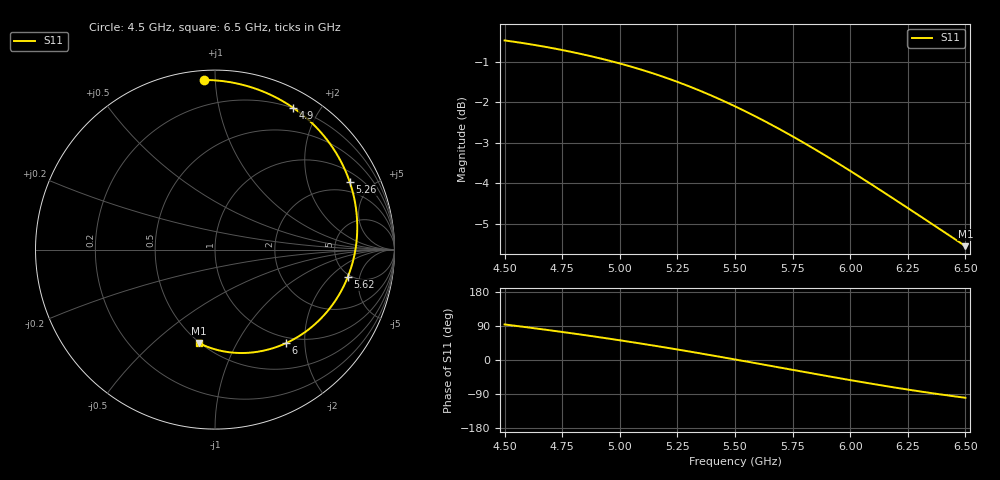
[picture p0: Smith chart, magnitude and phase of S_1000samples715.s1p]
! TOUCHSTONE file generated by CST MICROWAVE STUDIO
! Date and time: Sat Oct 29 03:14:12 2022
! Project name: L.cst
! Parameters = {Di=1.27; Epsilon_r=1.56; InnerDiameter=1.27; Length=2; Lf=10; Lg=60; OuterConductorThickness=0.2921; OuterDiameter=3.6; Wf=3; Wp=41.2; de=1.5; df=6.8; g=0.8; gx=2.39641; gy=4.52719; h=2.34; hf=1.524; px=11.6287; py=8.97197; w=9.7; wx=9.2323; wy=4.44478}
! Header version: 2018
! Port assignment regex: !\s*Touchstone port\s*([0-9]+)\s*=\s*(CST MWS port|CST DS port)\s*([0-9]+|Zmin|Zmax)\s*\(\"(.*)\"\)(\s*mode\s*([0-9]+))?.*
! Touchstone port assignment:
! Touchstone port 1 = CST MWS port 1 ("")
# GHz S DB R 50
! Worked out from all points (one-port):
!   101 points, 4.5 GHz to 6.5 GHz, reference 50 ohm
!   lowest |S11| = -5.5 dB at 6.5 GHz (marker M1), VSWR 3.24, Z = 24.8 - j35.7 ohm
!   |S11| at or under -10 dB: nowhere
!   S11 on the Smith chart (normalised r, x): 4.5 GHz: 0.05, +0.94; 4.9 GHz: 0.20, +1.68; 5.26 GHz: 1.44, +3.69; 5.62 GHz: 4.71, -3.36; 6 GHz: 0.89, -1.63; 6.5 GHz: 0.50, -0.71
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4.5  -0.47 93.8
4.58  -0.54 87.6
4.64  -0.59 82.9
4.76  -0.72 73.1
4.84  -0.82 66.3
4.9  -0.89 61.1
5  -1.04 52.0
5.06  -1.14 46.4
5.14  -1.28 38.7
5.2  -1.39 32.7
5.26  -1.51 26.7
5.32  -1.65 20.5
5.38  -1.79 14.2
5.44  -1.94 7.9
5.5  -2.10 1.4
5.56  -2.26 -5.1
5.62  -2.44 -11.7
5.68  -2.62 -18.3
5.76  -2.87 -27.1
5.88  -3.27 -40.2
5.94  -3.48 -46.6
6  -3.69 -53.0
6.06  -3.91 -59.2
6.12  -4.12 -65.3
6.18  -4.35 -71.3
6.26  -4.64 -78.9
6.38  -5.09 -89.8
6.5  -5.55 -99.7
